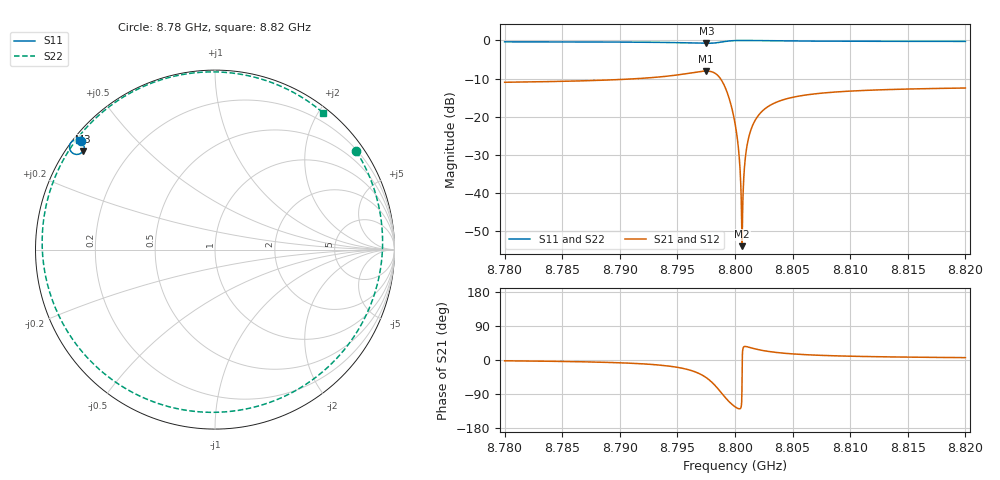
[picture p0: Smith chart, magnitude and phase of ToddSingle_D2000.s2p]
! Sonnet Data File
! From: emgraph Version : 16.52
! From Emgraph Data: 171113transmon_brg_singlesided
! Data File Written: 11/13/2017 17:44:24
!< HDATE 11/13/2017 16:41:44
!< MDATE 11/13/2017 16:41:44
!< PARAMS
!< Lj = 15.24
!< Gap = 6.0
!< Width = 10.0
!< Pwidth = 2000.0
!< hDis = 998.0
!< END PARAMS
# GHZ S MA R 34.67000
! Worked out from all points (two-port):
!   2001 points, 8.78 GHz to 8.82 GHz, reference 34.67 ohm
!   highest |S21| = -8.04 dB at 8.7975 GHz (marker M1); lowest = -54.0 dB at 8.80062 GHz (marker M2)
!   |S21| within 3 dB of the highest: start of sweep to 8.79894 GHz
!   lowest |S11| = -0.7 dB at 8.79752 GHz (marker M3), VSWR 23.25, Z = 1.65 + j11.4 ohm
!   |S11| at or under -10 dB: nowhere
!   |S22| runs from -0.9 to -0.1 dB; largest |S21 - S12| = 0
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8.78  0.9593 141.0  0.2823 -2.1  0.2823 -2.1  0.9592 34.8
!< P1 F=8.78 Eeff=(5.13743391 -5.7017e-5) Z0=(34.6430374 -9.7216e-5) R=0.0 C=0.0
!< P2 F=8.78 Eeff=(5.13743391 -5.7017e-5) Z0=(34.6430374 -9.7216e-5) R=0.0 C=0.0
8.78668  0.9556 141.0  0.2946 -4.7  0.2946 -4.7  0.9553 29.6
8.79334  0.9438 141.1  0.3305 -13.1  0.3305 -13.1  0.9423 12.7
8.79618  0.9269 141.8  0.3748 -27.6  0.3748 -27.6  0.9217 -16.9
8.79692  0.9204 142.5  0.39 -36.3  0.39 -36.3  0.9122 -34.9
8.7975  0.9175 143.4  0.3964 -46.5  0.3964 -46.5  0.9055 -56.4
8.79752  0.9175 143.4  0.3964 -47.0  0.3964 -47.0  0.9054 -57.3
8.7981  0.9234 144.7  0.382 -61.9  0.382 -61.9  0.9063 -88.8
8.79854  0.9386 145.6  0.3427 -76.5  0.3427 -76.5  0.9187 -119.4
8.79924  0.974 145.7  0.2232 -101.9  0.2232 -101.9  0.9555 -171.2
8.8  0.9961 144.4  0.08205 -123.4  0.08205 -123.4  0.9839 145.2
8.80028  0.9987 143.9  0.04073 -128.1  0.04073 -128.1  0.9885 133.6
8.8005  0.9995 143.6  0.0129 -126.8  0.0129 -126.8  0.9907 125.9
8.80062  0.9996 143.4  0.001986 -20.3  0.001986 -20.3  0.9915 122.1
8.80074  0.9996 143.3  0.01365 34.0  0.01365 34.0  0.992 118.6
8.80092  0.9992 143.1  0.03082 35.7  0.03082 35.7  0.9925 113.8
8.80112  0.9986 142.9  0.04777 34.4  0.04777 34.4  0.9926 109.1
8.80194  0.9949 142.3  0.09925 28.0  0.09925 28.0  0.9911 94.6
8.80384  0.9871 141.7  0.1598 19.1  0.1598 19.1  0.9854 76.8
8.80668  0.9804 141.3  0.1968 13.2  0.1968 13.2  0.9797 65.2
8.81334  0.974 141.1  0.2265 8.2  0.2265 8.2  0.9738 55.3
8.82  0.9714 141.0  0.2373 6.3  0.2373 6.3  0.9713 51.5
